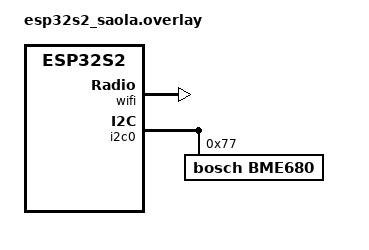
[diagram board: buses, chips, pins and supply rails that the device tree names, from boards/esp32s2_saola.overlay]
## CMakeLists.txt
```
# SPDX-License-Identifier: Apache-2.0

cmake_minimum_required(VERSION 3.20.0)

find_package(Zephyr REQUIRED HINTS $ENV{ZEPHYR_BASE})
project(ambient_sensor)

target_sources(app PRIVATE src/main.c)
```

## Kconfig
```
mainmenu "Networking http-client sample application"

config WIFI_SSID
	string "SSID"
	default ""

config WIFI_PASSWORD
	string "password"
	default ""

source "Kconfig.zephyr"
```

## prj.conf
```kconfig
# enable printing floats
CONFIG_CBPRINTF_FP_SUPPORT=y

# enable logging 
# Level: [0,4]: [NONE, ERR, WRN, INF, DBG]
CONFIG_LOG=y
CONFIG_LOG_DEFAULT_LEVEL=3
CONFIG_LOG_MODE_MINIMAL=y 

CONFIG_WIFI=y
#CONFIG_WIFI_ESP32=y
#CONFIG_NET_SOCKETS=y


# decrease packet count and size to save RAM
# CONFIG_NET_PKT_RX_COUNT=7
# CONFIG_NET_PKT_TX_COUNT=7
# CONFIG_NET_BUF_RX_COUNT=7
# CONFIG_NET_BUF_TX_COUNT=7
#34816
CONFIG_HEAP_MEM_POOL_SIZE=56000

CONFIG_NET_BUF_RX_COUNT=16
CONFIG_NET_BUF_TX_COUNT=16
CONFIG_NET_BUF_DATA_SIZE=256

CONFIG_MAIN_STACK_SIZE=8096

CONFIG_NETWORKING=y
CONFIG_NET_L2_ETHERNET=y

CONFIG_NET_IPV6=n
CONFIG_NET_IPV4=y
CONFIG_NET_DHCPV4=y

CONFIG_LOG_MODE_MINIMAL=y
CONFIG_NET_LOG=y

# open network shell on esp
CONFIG_NET_SHELL=n

#HTTP GET
CONFIG_NET_TCP=y

CONFIG_NET_SOCKETS=y
#CONFIG_NET_SOCKETS_POSIX_NAMES=y #use z_sock instead

# BME680 ambient sensor
CONFIG_I2C=y
CONFIG_SENSOR=y
CONFIG_BME680=y
```

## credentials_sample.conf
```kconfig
CONFIG_WIFI_SSID=""
CONFIG_WIFI_PASSWORD=""
```

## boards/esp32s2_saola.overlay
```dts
&wifi {
	status = "okay";
};

&i2c0 {
	bme680@77 {
		compatible = "bosch,bme680";
		reg = <0x77>;
		status = "okay";
	};
};

&pinctrl {
	i2c0_default: i2c0_default {
		group1 {
			pinmux = <I2C0_SDA_GPIO10>, <I2C0_SCL_GPIO11>;
		};
	};
};
```

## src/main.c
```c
#include <stdio.h>
#include <stdbool.h>
#include <string.h>
#include <errno.h>
#include <zephyr/kernel.h>
#include <zephyr/net/wifi_mgmt.h>
#include <zephyr/net/socket.h>
#include <autoconf.h> // final kconfig defines
#include <zephyr/drivers/sensor.h>

char WIFI_SSID[] = CONFIG_WIFI_SSID;
char WIFI_PASSWORD[] = CONFIG_WIFI_PASSWORD;

#define HTTP_HOST "192.168.1.139" //"192.168.1.120" : raspberry pi
#define HTTP_PORT "1880"
#define HTTP_PATH "/esp_ambient_data"

#define REQUEST_TEMPLATE                                                                           \
	"GET " HTTP_PATH "?temp=%s&pres=%s&hum=%s&gas=%s HTTP/1.1\r\n"                             \
	"Host: " HTTP_HOST ":" HTTP_PORT "\r\n"                                                    \
	"Connection: close\r\n"                                                                    \
	"\r\n"

#define MAX_RETRY_TIME_MS     30000 // Maximum time to wait for IP (30 seconds)
#define RETRY_INTERVAL_MS     5000
#define HTTP_SEND_INTERVAL_MS 60000

// static struct http_client_request req;
// static struct http_client_response rsp;

struct measurements {
	struct sensor_value temp;
	struct sensor_value pressure;
	struct sensor_value humidity;
	struct sensor_value gas_res;
};

int connect_wifi(void)
{
	if (strcmp(WIFI_SSID, "") == 0) {
		printf("No SSID given, aborting\n");
		return -1;
	}
	struct net_if *iface = net_if_get_default();
	struct wifi_connect_req_params wifi_params = {0};

	wifi_params.ssid = WIFI_SSID;
	wifi_params.ssid_length = strlen(WIFI_SSID);
	wifi_params.psk = WIFI_PASSWORD;
	wifi_params.psk_length = strlen(WIFI_PASSWORD);
	wifi_params.channel = WIFI_CHANNEL_ANY;
	wifi_params.security = WIFI_SECURITY_TYPE_PSK;
	wifi_params.band = WIFI_FREQ_BAND_2_4_GHZ;
	wifi_params.mfp = WIFI_MFP_OPTIONAL;

	k_msleep(1000);
	if (net_mgmt(NET_REQUEST_WIFI_CONNECT, iface, &wifi_params,
		     sizeof(struct wifi_connect_req_params))) {
		printf("WiFi Connection Request Failed\n");
	} else {
		printf("WiFi Connection Request Sent\n");
	}

	// Wait for IP address
	int retry_count = 0;
	while (retry_count * RETRY_INTERVAL_MS < MAX_RETRY_TIME_MS) {
		struct net_if_ipv4 *ipv4 = iface->config.ip.ipv4;
		if (ipv4 && ipv4->unicast[0].ipv4.is_used &&
		    ipv4->unicast[0].ipv4.address.in_addr.s4_addr32[0] != 0) {
			char ip_str[NET_IPV4_ADDR_LEN];
			net_addr_ntop(AF_INET, &ipv4->unicast[0].ipv4.address.in_addr, ip_str,
				      sizeof(ip_str));
			printf("IP address obtained: %s\n", ip_str);
			return 0;
		} else {
			printf("Waiting for IP allocation\n");
		}

		k_msleep(RETRY_INTERVAL_MS);
		retry_count++;
	}

	return -1;
}

int send_http_get(double temperature, double pressure, double humidity, double gas_res)
{
	int sock, ret;
	struct sockaddr_in addr;
	char buf[4096];
	char request[256];
	char temp_str[10], pres_str[10], hum_str[10], gas_str[10];

	printf("Preparing HTTP GET request for http://" HTTP_HOST ":" HTTP_PORT HTTP_PATH "\n");

	sock = zsock_socket(AF_INET, SOCK_STREAM, IPPROTO_TCP);
	if (sock < 0) {
		printf("Failed to create socket: %d\n", sock);
		return -1;
	}

	printf("sock = %d\n", sock);

	memset(&addr, 0, sizeof(addr));
	addr.sin_family = AF_INET;
	addr.sin_port = htons(strtol(HTTP_PORT, NULL, 10));

	ret = zsock_inet_pton(AF_INET, HTTP_HOST, &addr.sin_addr);
	if (ret != 1) {
		printf("Invalid address: %d\n", ret);
		zsock_close(sock);
		return -1;
	}

	ret = zsock_connect(sock, (struct sockaddr *)&addr, (socklen_t)sizeof(addr));
	if (ret < 0) {
		printf("Failed to connect: %d\n", ret);
		zsock_close(sock);
		return -1;
	} else {
		printf("Connection successful\n");
	}

	// Convert float to string
	snprintf(temp_str, sizeof(temp_str), "%.4f", temperature);
	snprintf(pres_str, sizeof(pres_str), "%.4f", pressure);
	snprintf(hum_str, sizeof(hum_str), "%.4f", humidity);
	snprintf(gas_str, sizeof(gas_str), "%.4f", gas_res);

	// Format the full request string
	snprintf(request, sizeof(request), REQUEST_TEMPLATE, temp_str, pres_str, hum_str, gas_str);

	// printf("Sending request: %s", request);
	ret = zsock_send(sock, request, sizeof(request), 0);
	if (ret < 0) {
		printf("Failed to send request: %d\n", ret);
		zsock_close(sock);
		return -1;
	}

	printf("Request sent, waiting for response...\n");

	do {
		ret = zsock_recv(sock, buf, sizeof(buf) - 1, 0);
		if (ret < 0) {
			if (errno == EINTR) {
				// Interrupted system call, try again
				continue;
			}
			printf("Error in recv: %d (%s)\n", errno, strerror(errno));
			break;
		} else if (ret == 0) {
			printf("Connection closed by server\n");
			break;
		} else {
			buf[ret] = '\0'; // Null-terminate the received data
			printf("Received %zd bytes: %s\n", ret, buf);
		}
	} while (ret > 0);

	printf("closing socket %i\n", sock);
	zsock_close(sock);
	return 0;
}

int bme680_init(const struct device *const dev)
{
	if (!device_is_ready(dev)) {
		printk("sensor: device not ready.\n");
		return -1;
	}

	printf("Device %p name is %s\n", dev, dev->name);
	return 0;
}

int bme680_get_measurements(const struct device *const dev, struct measurements *m)
{
	int ret = sensor_sample_fetch(dev);
	if (ret < 0) {
		printf("failed to get measurements\n");
		return ret;
	} else {
		sensor_channel_get(dev, SENSOR_CHAN_AMBIENT_TEMP, &m->temp);
		sensor_channel_get(dev, SENSOR_CHAN_PRESS, &m->pressure);
		sensor_channel_get(dev, SENSOR_CHAN_HUMIDITY, &m->humidity);
		sensor_channel_get(dev, SENSOR_CHAN_GAS_RES, &m->gas_res);

		printf("T: %f; P: %f; H: %f; G: %f\n", sensor_value_to_double(&m->temp),
		       sensor_value_to_double(&m->pressure), sensor_value_to_double(&m->humidity),
		       sensor_value_to_double(&m->gas_res));
		return 0;
	}
}

int main(void)
{
	/* BME 680 */
	const struct device *const dev = DEVICE_DT_GET_ONE(bosch_bme680);
	struct measurements measurements = {{0, 0}, {0, 0}, {0, 0}, {0, 0}};

	bme680_init(dev);

	/* WiFi */
	printf("WiFi Connection Test\n");
	printf("Trying to connect to %s\n", WIFI_SSID);

	int ret = connect_wifi();
	if (ret != 0) {
		return -1;
	}
	// k_msleep(10000);

	while (true) {
		bme680_get_measurements(dev, &measurements);
		send_http_get(sensor_value_to_double(&measurements.temp),
			      sensor_value_to_double(&measurements.pressure),
			      sensor_value_to_double(&measurements.humidity),
			      sensor_value_to_double(&measurements.gas_res));
		k_msleep(HTTP_SEND_INTERVAL_MS);
	}
	return 0;
}
```
